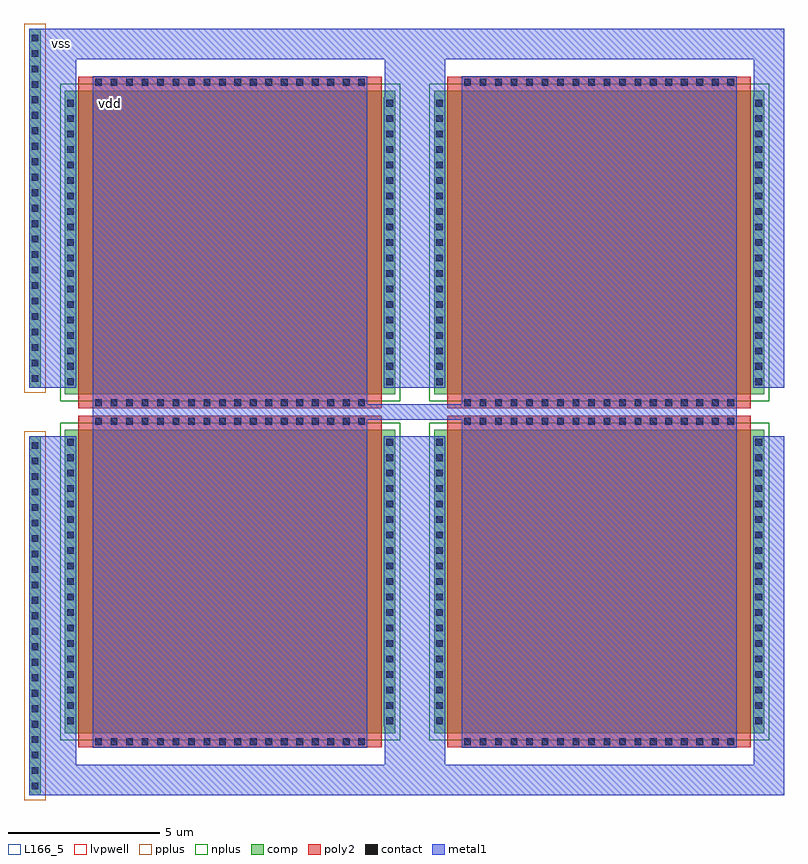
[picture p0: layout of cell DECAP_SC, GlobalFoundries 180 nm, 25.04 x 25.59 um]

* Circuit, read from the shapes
.subckt DECAP_SC vdd vss
XM1 vss vdd vss vss nfet_03v3 w=10u l=10u m=4
.ends

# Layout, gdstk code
import gdstk
lib = gdstk.Library(unit=1e-6, precision=5e-09)
def R(c, l, rs):  # rectangles x0, y0, x1, y1
    for r in rs: c.add(gdstk.rectangle(r[:2], r[2:], *l))
def A(c, l, x, y, w, h, nx, ny, dx, dy):  # array of equal rectangles
    R(c, l, [(x+i*dx, y+j*dy, x+i*dx+w, y+j*dy+h) for i in range(nx) for j in range(ny)])
comp = (22, 0)
poly2 = (30, 0)
pplus = (31, 0)
nplus = (32, 0)
contact = (33, 0)
metal1 = (34, 0)
L166_5 = (166, 5)
lvpwell = (204, 0)

cap_nmos = lib.new_cell('cap_nmos')
R(cap_nmos, comp, [(0,0,10.88,10)])
R(cap_nmos, poly2, [(0.44,-0.46,10.44,10.46)])
R(cap_nmos, nplus, [(-0.16,-0.23,11.04,10.23)])
A(cap_nmos, contact, 0.995, -0.39, 0.22, 0.22, 18, 2, 0.51, 10.56)
A(cap_nmos, contact, 0.07, 0.3, 0.22, 0.22, 1, 19, 0, 0.51)
A(cap_nmos, contact, 10.59, 0.3, 0.22, 0.22, 1, 19, 0, 0.51)
R(cap_nmos, metal1, [(-0.63,-2.04,11.53,-1.04), (-0.63,-1.04,0.37,9.78), (10.53,-1.04,11.53,9.78), (0.915,-0.47,9.965,-0.09), (0.915,-0.47,9.965,10.47), (-0.01,0.22,0.37,9.78), (10.51,0.22,10.89,9.78), (0.915,10.09,9.965,10.47)])
R(cap_nmos, L166_5, [(0,0,10.88,10)])
R(cap_nmos, lvpwell, [(0,0,10.88,10)])

decap_sc = lib.new_cell('DECAP_SC')
R(decap_sc, pplus, [(-1.735,-2.315,-1.015,9.845), (-1.735,11.115,-1.015,23.275)])
A(decap_sc, contact, -1.485, -1.955, 0.22, 0.22, 1, 23, 0, 0.51)
A(decap_sc, contact, -1.485, 11.475, 0.22, 0.22, 1, 23, 0, 0.51)
R(decap_sc, metal1, [(-1.565,-2.145,-1.015,9.675), (9.58,10.23,12.69,10.73), (0.53,10.365,21.74,10.595), (-1.565,11.285,-1.015,23.105)])
decap_sc.add(gdstk.FlexPath([(-1.375,23.105),(-1.375,11.285)], 0.38, ends="flush", simple_path=True, layer=22, datatype=0))  # comp
decap_sc.add(gdstk.FlexPath([(-1.375,9.675),(-1.375,-2.145)], 0.38, ends="flush", simple_path=True, layer=22, datatype=0))  # comp
decap_sc.add(gdstk.Reference(cap_nmos, (-0.385,-0.105)))
decap_sc.add(gdstk.Reference(cap_nmos, (11.775,-0.105)))
decap_sc.add(gdstk.Reference(cap_nmos, (-0.385,21.065), x_reflection=True))
decap_sc.add(gdstk.Reference(cap_nmos, (11.775,21.065), x_reflection=True))
decap_sc.add(gdstk.Label('vss', (-0.51,22.625), layer=34, texttype=10))
decap_sc.add(gdstk.Label('vdd', (1.12,20.64), layer=34, texttype=10))

lib.write_gds('DECAP_SC.gds')
